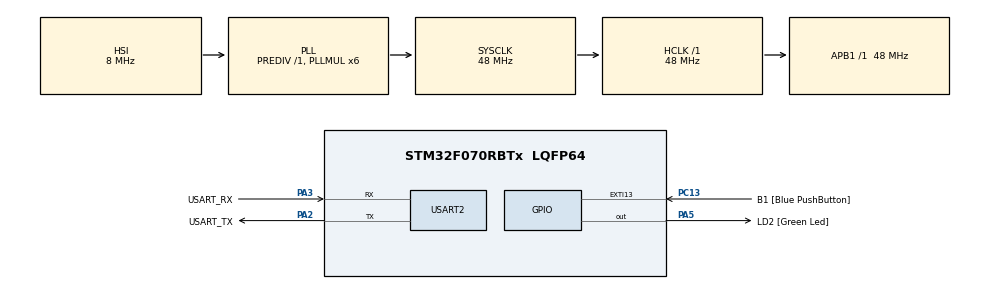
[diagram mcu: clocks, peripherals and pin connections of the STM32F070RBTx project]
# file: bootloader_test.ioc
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Mcu.Family=STM32F0
Mcu.Name=STM32F070RBTx
Mcu.Package=LQFP64
PA13.GPIO_Label=TMS
PA13.Mode=Serial_Wire
PA13.Signal=SYS_SWDIO
PA14.GPIO_Label=TCK
PA14.Mode=Serial_Wire
PA14.Signal=SYS_SWCLK
PA2.GPIO_Label=USART_TX
PA2.Mode=Asynchronous
PA2.Signal=USART2_TX
PA3.GPIO_Label=USART_RX
PA3.Mode=Asynchronous
PA3.Signal=USART2_RX
PA5.GPIO_Label=LD2 [Green Led]
PA5.Signal=GPIO_Output
PC13.GPIO_Label=B1 [Blue PushButton]
PC13.GPIO_ModeDefaultEXTI=GPIO_MODE_IT_FALLING
PC13.Signal=GPXTI13
PC14-OSC32_IN.GPIO_Label=RCC_OSC32_IN
PC14-OSC32_IN.Mode=LSE-External-Oscillator
PC14-OSC32_IN.Signal=RCC_OSC32_IN
PC15-OSC32_OUT.GPIO_Label=RCC_OSC32_OUT
PC15-OSC32_OUT.Mode=LSE-External-Oscillator
PC15-OSC32_OUT.Signal=RCC_OSC32_OUT
PF0-OSC_IN.GPIO_Label=RCC_OSC_IN
PF0-OSC_IN.Mode=HSE-External-Clock-Source
PF0-OSC_IN.Signal=RCC_OSC_IN
PF1-OSC_OUT.GPIO_Label=RCC_OSC_OUT
PF1-OSC_OUT.Signal=RCC_OSC_OUT
ProjectManager.HeapSize=0x200
ProjectManager.StackSize=0x400
ProjectManager.TargetToolchain=STM32CubeIDE
RCC.AHBFreq_Value=48000000
RCC.APB1Freq_Value=48000000
RCC.APB1TimFreq_Value=48000000
RCC.HCLKFreq_Value=48000000
RCC.PLLMUL=RCC_PLL_MUL6
RCC.SYSCLKFreq_VALUE=48000000
RCC.SYSCLKSource=RCC_SYSCLKSOURCE_PLLCLK
USART2.VirtualMode-Asynchronous=VM_ASYNC
board=NUCLEO-F070RB

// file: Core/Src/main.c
/* USER CODE BEGIN Header */
/**
  ******************************************************************************
  * @file           : main.c
  * @brief          : Main program body
  ******************************************************************************
  * @attention
  *
  * Copyright (c) 2024 STMicroelectronics.
  * All rights reserved.
  *
  * This software is licensed under terms that can be found in the LICENSE file
  * in the root directory of this software component.
  * If no LICENSE file comes with this software, it is provided AS-IS.
  *
  ******************************************************************************
  */
/* USER CODE END Header */
#include "main.h"

UART_HandleTypeDef huart2;

/* USER CODE BEGIN PV */

typedef void (*ptrf) (uint32_t dlyticks);

unsigned char __attribute__ ((section(".myBufSectionRAM"))) buf_ram[128];
const unsigned char __attribute__((section(".myBufSectionFLASH"))) buf_flash[10] = {1,2,3,4,5,6,7,8,9,0};

#define LOCATE_FUNC __attribute__((section(".mysection")))

void __attribute__ ((section(".RamFunc"))) TurnOnLED(GPIO_PinState pin_state){
	if(pin_state != GPIO_PIN_RESET){
		LD2_GPIO_Port ->BSRR = (uint32_t) LD2_Pin;
	}else
		LD2_GPIO_Port ->BRR = (uint32_t) LD2_Pin;
}

/* USER CODE END PV */

void SystemClock_Config(void);
static void MX_GPIO_Init(void);
static void MX_USART2_UART_Init(void);

/* USER CODE BEGIN 0 */
void LOCATE_FUNC Blink(uint32_t dlyticks){
	HAL_GPIO_TogglePin(LD2_GPIO_Port, LD2_Pin);
	HAL_Delay(dlyticks);
}
static ptrf Functions[]={
		Blink
};
/* USER CODE END 0 */

int main(void)
{

  /* MCU Configuration--------------------------------------------------------*/

  /* Reset of all peripherals, Initializes the Flash interface and the Systick. */
  HAL_Init();

  /* Configure the system clock */
  SystemClock_Config();

  /* Initialize all configured peripherals */
  MX_GPIO_Init();
  MX_USART2_UART_Init();

  /* Infinite loop */
  /* USER CODE BEGIN WHILE */
  while (1)
  {
	 // Blink(100);
	  //TurnOnLED(GPIO_PIN_SET);
	  (*Functions[0])(100);
    /* USER CODE END WHILE */

  }
}

void SystemClock_Config(void)
{
  RCC_OscInitTypeDef RCC_OscInitStruct = {0};
  RCC_ClkInitTypeDef RCC_ClkInitStruct = {0};

  /** Initializes the RCC Oscillators according to the specified parameters
  * in the RCC_OscInitTypeDef structure.
  */
  RCC_OscInitStruct.OscillatorType = RCC_OSCILLATORTYPE_HSI;
  RCC_OscInitStruct.HSIState = RCC_HSI_ON;
  RCC_OscInitStruct.HSICalibrationValue = RCC_HSICALIBRATION_DEFAULT;
  RCC_OscInitStruct.PLL.PLLState = RCC_PLL_ON;
  RCC_OscInitStruct.PLL.PLLSource = RCC_PLLSOURCE_HSI;
  RCC_OscInitStruct.PLL.PLLMUL = RCC_PLL_MUL6;
  RCC_OscInitStruct.PLL.PREDIV = RCC_PREDIV_DIV1;
  if (HAL_RCC_OscConfig(&RCC_OscInitStruct) != HAL_OK)
  {
    Error_Handler();
  }

  /** Initializes the CPU, AHB and APB buses clocks
  */
  RCC_ClkInitStruct.ClockType = RCC_CLOCKTYPE_HCLK|RCC_CLOCKTYPE_SYSCLK
                              |RCC_CLOCKTYPE_PCLK1;
  RCC_ClkInitStruct.SYSCLKSource = RCC_SYSCLKSOURCE_PLLCLK;
  RCC_ClkInitStruct.AHBCLKDivider = RCC_SYSCLK_DIV1;
  RCC_ClkInitStruct.APB1CLKDivider = RCC_HCLK_DIV1;

  if (HAL_RCC_ClockConfig(&RCC_ClkInitStruct, FLASH_LATENCY_1) != HAL_OK)
  {
    Error_Handler();
  }
}

static void MX_USART2_UART_Init(void)
{

  huart2.Instance = USART2;
  huart2.Init.BaudRate = 38400;
  huart2.Init.WordLength = UART_WORDLENGTH_8B;
  huart2.Init.StopBits = UART_STOPBITS_1;
  huart2.Init.Parity = UART_PARITY_NONE;
  huart2.Init.Mode = UART_MODE_TX_RX;
  huart2.Init.HwFlowCtl = UART_HWCONTROL_NONE;
  huart2.Init.OverSampling = UART_OVERSAMPLING_16;
  huart2.Init.OneBitSampling = UART_ONE_BIT_SAMPLE_DISABLE;
  huart2.AdvancedInit.AdvFeatureInit = UART_ADVFEATURE_NO_INIT;
  if (HAL_UART_Init(&huart2) != HAL_OK)
  {
    Error_Handler();
  }

}

static void MX_GPIO_Init(void)
{
  GPIO_InitTypeDef GPIO_InitStruct = {0};

  /* GPIO Ports Clock Enable */
  __HAL_RCC_GPIOC_CLK_ENABLE();
  __HAL_RCC_GPIOF_CLK_ENABLE();
  __HAL_RCC_GPIOA_CLK_ENABLE();

  /*Configure GPIO pin Output Level */
  HAL_GPIO_WritePin(GPIOA, GPIO_PIN_5, GPIO_PIN_RESET);

  /*Configure GPIO pin : PC13 */
  GPIO_InitStruct.Pin = GPIO_PIN_13;
  GPIO_InitStruct.Mode = GPIO_MODE_IT_FALLING;
  GPIO_InitStruct.Pull = GPIO_NOPULL;
  HAL_GPIO_Init(GPIOC, &GPIO_InitStruct);

  /*Configure GPIO pin : PA5 */
  GPIO_InitStruct.Pin = GPIO_PIN_5;
  GPIO_InitStruct.Mode = GPIO_MODE_OUTPUT_PP;
  GPIO_InitStruct.Pull = GPIO_NOPULL;
  GPIO_InitStruct.Speed = GPIO_SPEED_FREQ_LOW;
  HAL_GPIO_Init(GPIOA, &GPIO_InitStruct);

}

void Error_Handler(void)
{
  __disable_irq();
  while (1)
  {
  }
}
